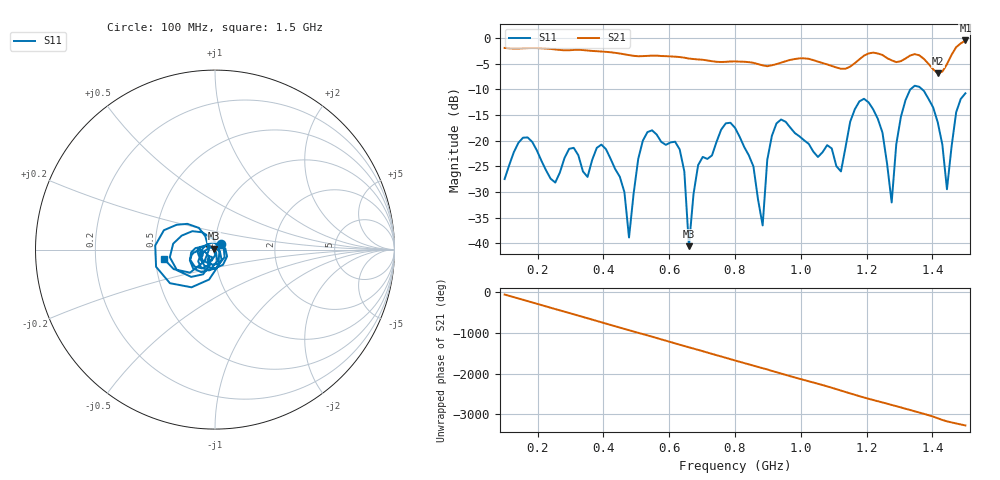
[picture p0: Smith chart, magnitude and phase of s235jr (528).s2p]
! NanoVNA-App
! Date: 2025-09-25 15:08:16
! Start: 100MHz Stop: 1,5GHz Points: 101
! S-Parameter data: F S11 S21 S12 S22
# Hz S RI R 50
!  Frequency  S11_Real  S11_Imag  S21_Real  S21_Imag  S12_Real  S12_Imag  S22_Real  S22_Imag
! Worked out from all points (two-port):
!   101 points, 100 MHz to 1.5 GHz, reference 50 ohm
!   highest |S21| = -0.51 dB at 1.5 GHz (marker M1); lowest = -6.9 dB at 1.416 GHz (marker M2)
!   |S21| within 3 dB of the highest: start of sweep to 493.7 MHz; 1.191 GHz to 1.252 GHz (61.06 MHz wide, 5 % of centre) (the widest 2 of 5)
!   lowest |S11| = -40.5 dB at 660 MHz (marker M3), VSWR 1.02, Z = 49.2 + j0.543 ohm
!   |S11| at or under -10 dB: start of sweep to 1.334 GHz; 1.368 GHz to end of sweep
!   S12 and S22 are empty: the file has one direction only
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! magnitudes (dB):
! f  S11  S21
! 100 MHz  -27.5  -2.0
! 156 MHz  -19.4  -2.0
! 338 MHz  -26.0  -2.4
! 408 MHz  -21.7  -2.7
! 478 MHz  -38.8  -3.4
! 520 MHz  -20.0  -3.6
! 576 MHz  -20.2  -3.5
! 632 MHz  -21.7  -3.7
! 660 MHz  -40.5  -4.0
! 688 MHz  -24.8  -4.2
! 800 MHz  -17.5  -4.6
! 884 MHz  -36.5  -5.4
! 926 MHz  -16.7  -5.1
! 1.038 GHz  -22.1  -4.3
! 1.122 GHz  -26.0  -6.0
! 1.192 GHz  -11.9  -3.5
! 1.248 GHz  -18.4  -3.3
! 1.276 GHz  -32.0  -4.4
! 1.332 GHz  -10.1  -3.5
! 1.416 GHz  -16.4  -6.9
! 1.444 GHz  -29.5  -5.1
! 1.5 GHz  -10.8  -0.5
